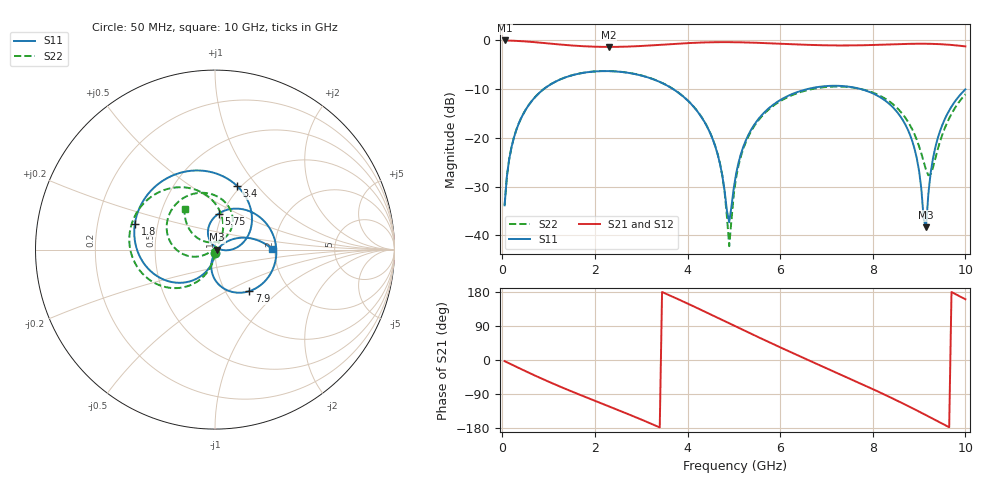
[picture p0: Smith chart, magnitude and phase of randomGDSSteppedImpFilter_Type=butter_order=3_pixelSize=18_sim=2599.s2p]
! freq	dB(S11)	phase(S11)	dB(S12)	phase(S12)
!  dB(S21)	phase(S21)	dB(S22)	phase(S22)
!S-par simulation data
#  GHz  S  DB  R 50
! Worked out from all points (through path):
!   200 points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, 50 MHz to 10 GHz, reference 50 ohm
!   highest |S21| = -0.01 dB at 50 MHz (marker M1); lowest = -1.3 dB at 2.3 GHz (marker M2)
!   group delay of S21, straight-line fit = 154 ps
!   lowest |S11| = -38.3 dB at 9.15 GHz (marker M3), VSWR 1.02, Z = 51.2 - j0.0564 ohm
!   |S11| at or under -10 dB: start of sweep to 893 MHz; 3.692 GHz to 6.578 GHz (2.886 GHz wide, 56.2 % of centre); 7.752 GHz to end of sweep
!   |S22| runs from -42.2 to -6.3 dB; largest |S21 - S12| = 0
!   S11 on the Smith chart (normalised r, x): 50 MHz: 1.00, -0.04; 1.8 GHz: 0.37, +0.14; 3.4 GHz: 0.96, +0.79; 5.75 GHz: 0.96, +0.40; 7.9 GHz: 1.28, -0.65; 10 GHz: 1.92, +0.03
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0.05  -33.82 -93.2  -0.01 -3.0  -0.01 -3.0  -33.82 -92.7
0.2  -21.85 -103.3  -0.05 -11.9  -0.05 -11.9  -21.84 -101.3
0.5  -14.29 -122.5  -0.21 -29.4  -0.21 -29.4  -14.29 -117.4
1.1  -8.70 -158.6  -0.71 -62.5  -0.71 -62.5  -8.69 -147.3
1.75  -6.65 164.7  -1.19 -95.5  -1.19 -95.5  -6.63 -176.7
1.8  -6.57 162.0  -1.21 -97.9  -1.21 -97.9  -6.56 -178.8
2.3  -6.29 134.5  -1.33 -122.3  -1.33 -122.3  -6.28 160.2
3.4  -8.51 71.0  -0.91 -177.9  -0.91 -177.9  -8.49 113.8
4.5  -19.25 3.0  -0.38 120.2  -0.38 120.2  -19.19 66.7
4.75  -27.67 -2.6  -0.35 105.6  -0.35 105.6  -27.65 61.7
4.9  -37.29 64.1  -0.35 96.8  -0.35 96.8  -42.20 130.5
5.05  -27.29 119.3  -0.37 88.1  -0.37 88.1  -28.09 -153.0
5.3  -19.64 112.3  -0.42 73.5  -0.42 73.5  -19.97 -157.6
5.75  -13.95 84.4  -0.58 47.6  -0.58 47.6  -14.19 -175.3
6.7  -9.74 22.5  -0.94 -5.3  -0.94 -5.3  -9.95 144.7
7.9  -10.46 -50.5  -0.96 -71.1  -0.96 -71.1  -10.36 90.6
8.35  -12.97 -76.6  -0.83 -96.8  -0.83 -96.8  -12.46 69.1
8.9  -22.15 -104.7  -0.68 -129.9  -0.68 -129.9  -19.21 49.2
9.15  -38.35 -2.6  -0.68 -145.5  -0.68 -145.5  -26.57 72.3
9.25  -27.16 33.8  -0.70 -151.9  -0.70 -151.9  -27.45 110.0
9.4  -20.14 32.1  -0.74 -161.4  -0.74 -161.4  -22.45 142.6
10  -10.03 1.1  -1.22 160.3  -1.22 160.3  -11.03 127.1
